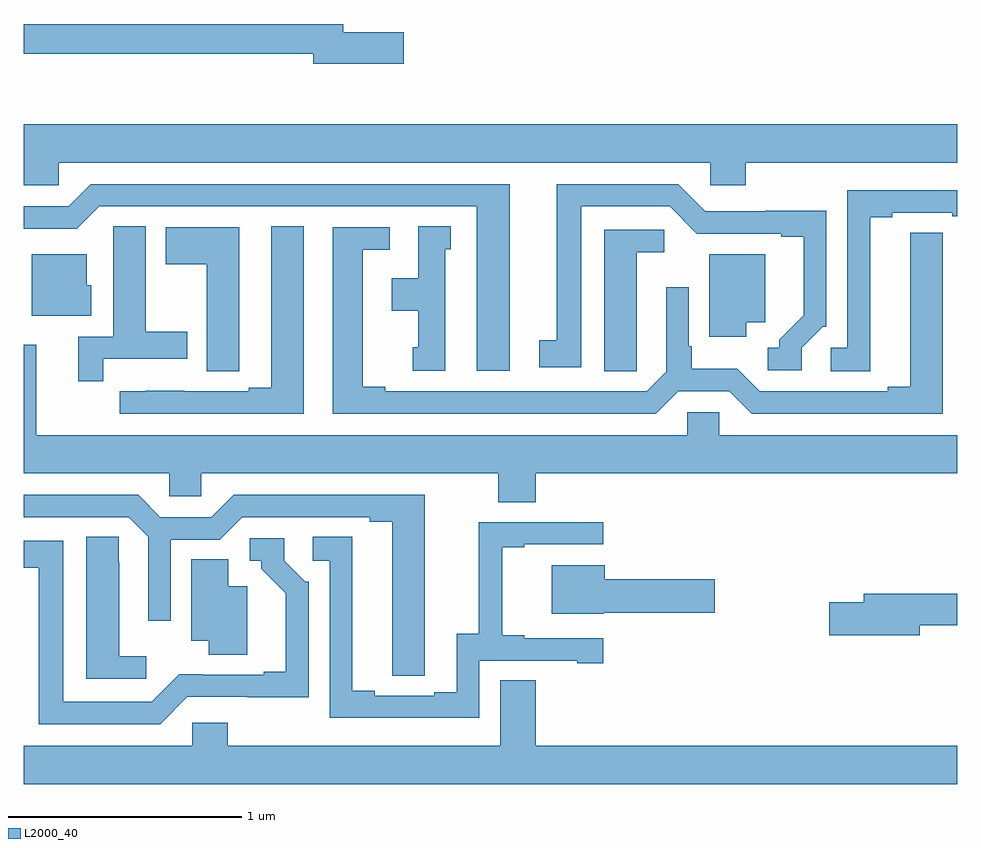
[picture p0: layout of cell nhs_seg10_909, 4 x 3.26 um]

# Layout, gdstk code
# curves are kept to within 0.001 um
import gdstk
lib = gdstk.Library(unit=1e-6, precision=1e-09)
def P(c, l, *ps):  # polygons
    for p in ps: c.add(gdstk.Polygon(p, *l))
L2000_40 = (2000, 40)

nhs_seg10_909 = lib.new_cell('nhs_seg10_909')
P(nhs_seg10_909, L2000_40, [(158.629,1298.21),(158.368,1298.21),(158.368,1298.246),(157,1298.246),(157,1298.118),(158.24,1298.118),(158.24,1298.075),(158.629,1298.075)],
  [(157.149,1297.652),(159.942,1297.652),(159.942,1297.554),(160.094,1297.554),(160.094,1297.652),(161,1297.652),(161,1297.816),(157,1297.816),(157,1297.554),(157.149,1297.554)],
  [(159.082,1297.56),(157.287,1297.56),(157.191,1297.464),(157,1297.464),(157,1297.368),(157.227,1297.368),(157.323,1297.464),(158.942,1297.464),(158.942,1296.759),(159.082,1296.759)],
  [(160.335,1296.858),(160.425,1296.948),(160.44,1296.948),(160.44,1297.445),(160.177,1297.445),(160.177,1297.443),(159.921,1297.443),(159.804,1297.56),(159.284,1297.56),(159.284,1296.89),(159.21,1296.89),(159.21,1296.774),(159.388,1296.774),(159.388,1297.464),(159.768,1297.464),(159.885,1297.347),(160.247,1297.347),(160.247,1297.335),(160.343,1297.335),(160.343,1296.998),(160.238,1296.893),(160.238,1296.858),(160.188,1296.858),(160.188,1296.762),(160.335,1296.762)],
  [(160.627,1297.417),(160.723,1297.417),(160.723,1297.437),(160.979,1297.437),(160.979,1297.422),(161,1297.422),(161,1297.533),(160.53,1297.533),(160.53,1296.858),(160.458,1296.858),(160.458,1296.757),(160.627,1296.757)],
  [(158.806,1297.281),(158.83,1297.281),(158.83,1297.379),(158.69,1297.379),(158.69,1297.156),(158.576,1297.156),(158.576,1297.016),(158.69,1297.016),(158.69,1296.861),(158.666,1296.861),(158.666,1296.759),(158.806,1296.759)],
  [(158.2,1297.379),(158.06,1297.379),(158.06,1296.687),(157.964,1296.687),(157.964,1296.672),(157.688,1296.672),(157.688,1296.673),(157.522,1296.673),(157.522,1296.672),(157.41,1296.672),(157.41,1296.576),(158.2,1296.576)],
  [(157.34,1296.81),(157.699,1296.81),(157.699,1296.927),(157.522,1296.927),(157.522,1297.379),(157.383,1297.379),(157.383,1297.268),(157.382,1297.268),(157.382,1296.906),(157.232,1296.906),(157.232,1296.714),(157.34,1296.714)],
  [(157.923,1296.865),(157.924,1296.865),(157.924,1297.375),(157.607,1297.375),(157.607,1297.216),(157.784,1297.216),(157.784,1296.757),(157.923,1296.757)],
  [(159.805,1296.672),(160.023,1296.672),(160.119,1296.576),(160.939,1296.576),(160.938,1297.352),(160.799,1297.352),(160.799,1296.692),(160.703,1296.692),(160.703,1296.672),(160.155,1296.672),(160.058,1296.769),(159.862,1296.769),(159.862,1296.865),(159.849,1296.865),(159.849,1297.117),(159.753,1297.117),(159.753,1296.756),(159.669,1296.672),(158.548,1296.672),(158.548,1296.692),(158.452,1296.692),(158.452,1297.278),(158.569,1297.278),(158.569,1297.374),(158.324,1297.374),(158.324,1296.576),(159.709,1296.576)],
  [(159.627,1296.865),(159.628,1296.865),(159.628,1297.268),(159.745,1297.268),(159.745,1297.365),(159.488,1297.365),(159.488,1296.757),(159.627,1296.757)],
  [(160.096,1296.968),(160.177,1296.968),(160.177,1297.258),(159.938,1297.258),(159.938,1296.906),(160.096,1296.906)],
  [(157.288,1297.125),(157.27,1297.125),(157.27,1297.258),(157.034,1297.258),(157.034,1296.995),(157.288,1296.995)],
  [(159.194,1296.32),(161,1296.32),(161,1296.484),(159.981,1296.484),(159.981,1296.582),(159.843,1296.582),(159.843,1296.484),(157.052,1296.484),(157.052,1296.871),(157,1296.871),(157,1296.32),(157.623,1296.32),(157.623,1296.222),(157.761,1296.222),(157.761,1296.32),(159.034,1296.32),(159.034,1296.196),(159.194,1296.196)],
  [(158.718,1295.56),(158.719,1296.228),(157.899,1296.228),(157.803,1296.132),(157.585,1296.132),(157.489,1296.228),(157,1296.228),(157,1296.132),(157.449,1296.132),(157.533,1296.048),(157.533,1295.688),(157.629,1295.688),(157.629,1296.036),(157.839,1296.036),(157.935,1296.132),(158.483,1296.132),(158.483,1296.112),(158.579,1296.112),(158.579,1295.452),(158.718,1295.452)],
  [(158.952,1295.517),(159.371,1295.517),(159.371,1295.505),(159.484,1295.505),(159.484,1295.613),(159.145,1295.613),(159.145,1295.626),(159.05,1295.626),(159.05,1296.003),(159.145,1296.003),(159.145,1296.015),(159.484,1296.015),(159.484,1296.111),(158.95,1296.111),(158.95,1295.633),(158.855,1295.633),(158.855,1295.382),(158.759,1295.382),(158.759,1295.367),(158.503,1295.367),(158.503,1295.387),(158.407,1295.387),(158.407,1296.047),(158.238,1296.047),(158.238,1295.946),(158.31,1295.946),(158.31,1295.271),(158.952,1295.271)],
  [(157.525,1295.536),(157.408,1295.536),(157.408,1295.939),(157.407,1295.939),(157.407,1296.047),(157.268,1296.047),(157.268,1295.439),(157.525,1295.439)],
  [(157.701,1295.361),(158.22,1295.36),(158.22,1295.856),(158.205,1295.856),(158.115,1295.946),(158.115,1296.042),(157.968,1296.042),(157.968,1295.946),(158.018,1295.946),(158.018,1295.911),(158.123,1295.806),(158.123,1295.47),(158.027,1295.47),(158.027,1295.457),(157.666,1295.458),(157.548,1295.34),(157.168,1295.34),(157.168,1296.03),(157,1296.03),(157,1295.914),(157.064,1295.914),(157.064,1295.244),(157.584,1295.244)],
  [(157.957,1295.836),(157.876,1295.836),(157.876,1295.951),(157.718,1295.951),(157.718,1295.603),(157.793,1295.603),(157.793,1295.542),(157.957,1295.542)],
  [(159.486,1295.723),(159.961,1295.723),(159.961,1295.865),(159.49,1295.865),(159.49,1295.926),(159.263,1295.926),(159.263,1295.717),(159.486,1295.717)],
  [(160.84,1295.668),(161,1295.668),(161,1295.804),(160.601,1295.804),(160.601,1295.768),(160.452,1295.768),(160.452,1295.626),(160.84,1295.626)],
  [(161,1295.152),(159.194,1295.152),(159.194,1295.432),(159.041,1295.432),(159.041,1295.152),(157.874,1295.152),(157.874,1295.25),(157.722,1295.25),(157.722,1295.152),(157,1295.152),(157,1294.988),(161,1294.988)])

lib.write_gds('nhs_seg10_909.gds')
